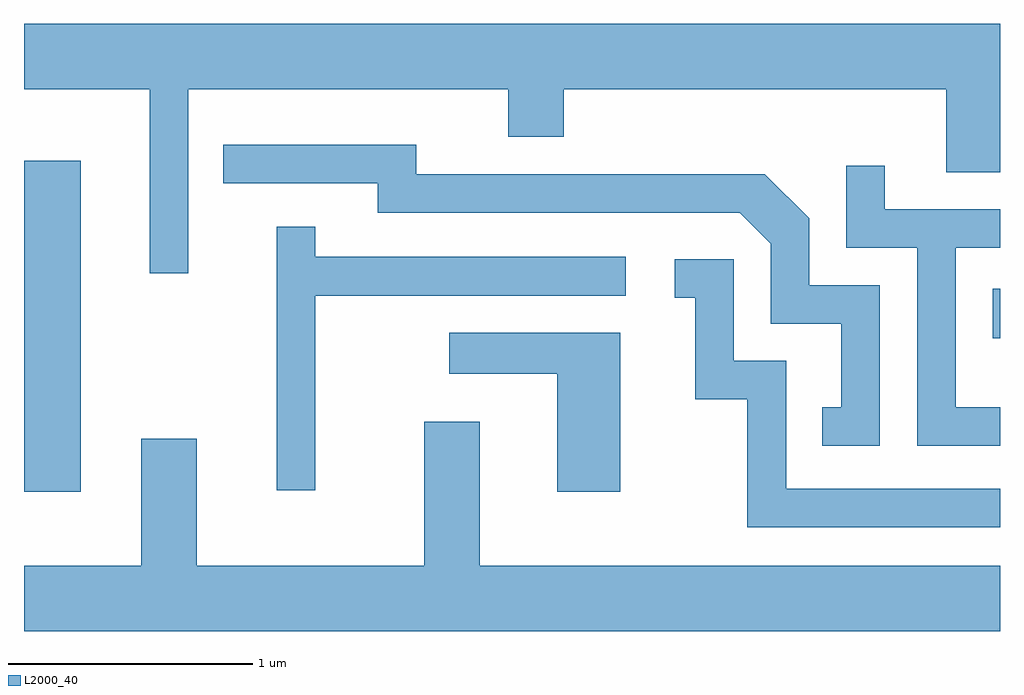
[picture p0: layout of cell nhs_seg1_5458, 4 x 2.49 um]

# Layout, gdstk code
import gdstk
lib = gdstk.Library(unit=1e-6, precision=1e-09)
def R(c, l, rs):  # rectangles x0, y0, x1, y1
    for r in rs: c.add(gdstk.rectangle(r[:2], r[2:], *l))
def P(c, l, *ps):  # polygons
    for p in ps: c.add(gdstk.Polygon(p, *l))
L2000_40 = (2000, 40)

nhs_seg1_5458 = lib.new_cell('nhs_seg1_5458')
R(nhs_seg1_5458, L2000_40, [(349.611,904.586,349.844,905.944), (353.581,905.216,353.611,905.419)])
P(nhs_seg1_5458, L2000_40, [(350.284,906.236),(351.596,906.236),(351.596,906.041),(351.824,906.041),(351.824,906.236),(353.391,906.236),(353.391,905.896),(353.611,905.896),(353.611,906.504),(349.611,906.504),(349.611,906.236),(350.126,906.236),(350.126,905.483),(350.284,905.483)],
  [(353.119,905.434),(352.829,905.434),(352.829,905.707),(352.647,905.889),(351.219,905.889),(351.219,906.009),(350.428,906.009),(350.428,905.851),(351.061,905.851),(351.061,905.731),(352.544,905.731),(352.671,905.604),(352.671,905.276),(352.961,905.276),(352.961,904.934),(352.883,904.934),(352.883,904.776),(353.119,904.776)],
  [(353.611,904.934),(353.429,904.934),(353.429,905.586),(353.611,905.586),(353.611,905.744),(353.139,905.744),(353.139,905.923),(352.981,905.923),(352.981,905.586),(353.271,905.586),(353.271,904.776),(353.611,904.776)],
  [(350.804,905.391),(352.078,905.391),(352.078,905.549),(350.804,905.549),(350.804,905.673),(350.646,905.673),(350.646,904.593),(350.804,904.593)],
  [(353.611,904.599),(352.734,904.599),(352.734,905.124),(352.519,905.124),(352.519,905.539),(352.278,905.539),(352.278,905.381),(352.361,905.381),(352.361,904.966),(352.576,904.966),(352.576,904.441),(353.611,904.441)],
  [(352.054,905.239),(351.353,905.239),(351.353,905.071),(351.796,905.071),(351.796,904.586),(352.054,904.586)],
  [(353.611,904.284),(351.479,904.284),(351.479,904.874),(351.251,904.874),(351.251,904.284),(350.319,904.284),(350.319,904.804),(350.091,904.804),(350.091,904.284),(349.611,904.284),(349.611,904.016),(353.611,904.016)])

lib.write_gds('nhs_seg1_5458.gds')
